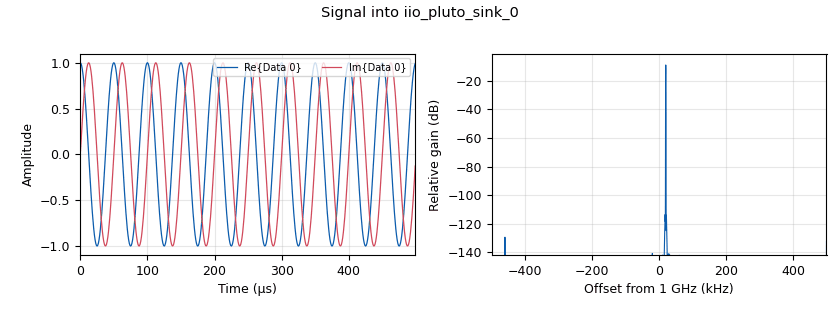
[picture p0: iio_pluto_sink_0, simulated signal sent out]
options:
  parameters:
    generate_options: qt_gui
    id: PlutoLoopback
    output_language: python
    title: Pluto LoopBack
  states: {}

blocks:
- name: freq
  id: variable_qtgui_range
  parameters:
    label: Frequency (KHz)
    start: '10000'
    step: '1000'
    stop: '90000'
    value: '20000'
  states: {}
- name: samp_rate
  id: variable
  parameters:
    value: 1e6
  states: {}
- name: analog_sig_source_x_0
  id: analog_sig_source_x
  parameters:
    amp: '1'
    freq: freq
    offset: '0'
    phase: '0'
    samp_rate: samp_rate
    type: complex
    waveform: analog.GR_COS_WAVE
  states: {}
- name: iio_pluto_sink_0
  id: iio_pluto_sink
  parameters:
    attenuation1: '10.0'
    bandwidth: '1000000'
    buffer_size: '32768'
    cyclic: 'False'
    filter_source: '''Auto'''
    frequency: '1000000000'
    samplerate: int(samp_rate)
    type: fc32
    uri: ip:192.168.2.1
  states: {}
- name: iio_pluto_source_0
  id: iio_pluto_source
  parameters:
    bandwidth: '1000000'
    bbdc: 'False'
    buffer_size: '32768'
    filter_source: '''Auto'''
    frequency: '1000000000'
    gain1: '''manual'''
    manual_gain1: '10'
    quadrature: 'True'
    rfdc: 'False'
    samplerate: int(samp_rate)
    type: fc32
    uri: ip:192.168.2.1
  states: {}
- name: qtgui_sink_x_0
  id: qtgui_sink_x
  parameters:
    bw: samp_rate
    fc: '0'
    fftsize: '2048'
    type: complex
  states: {}

connections:
- [analog_sig_source_x_0, '0', iio_pluto_sink_0, '0']
- [iio_pluto_source_0, '0', qtgui_sink_x_0, '0']

metadata:
  file_format: 1
  grc_version: 3.10.12.0
